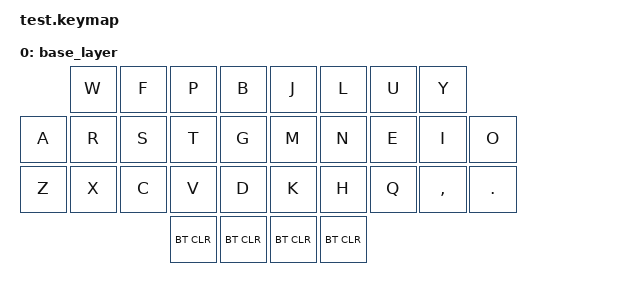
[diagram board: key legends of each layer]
#include <behaviors.dtsi>
#include <dt-bindings/zmk/keys.h>
#include <dt-bindings/zmk/bt.h>

/ {
    keymap {
        compatible = "zmk,keymap";

        base_layer {
          bindings = <
            //               ╭─────────────┬─────────────┬─────────────┬─────────────╮   ╭─────────────┬─────────────┬─────────────┬─────────────╮
                               &kp W         &kp F         &kp P         &kp B             &kp J         &kp L         &kp U         &kp Y
            // ╭─────────────┼─────────────┼─────────────┼─────────────┼─────────────┤   ├─────────────┼─────────────┼─────────────┼─────────────┼─────────────╮
                 &kp A         &kp R         &kp S         &kp T         &kp G             &kp M         &kp N         &kp E         &kp I         &kp O
            // ├─────────────┼─────────────┼─────────────┼─────────────┼─────────────┤   ├─────────────┼─────────────┼─────────────┼─────────────┼─────────────┤
                 &kp Z         &kp X         &kp C         &kp V         &kp D             &kp K         &kp H         &kp Q         &kp COMMA     &kp DOT
            // ╰─────────────┴─────────────┴─────────────┼─────────────┼─────────────┤   ├─────────────┼─────────────┼─────────────┴─────────────┴─────────────╯
                                                           &bt BT_CLR    &bt BT_CLR        &bt BT_CLR    &bt BT_CLR
            //                                           ╰─────────────┴─────────────╯   ╰─────────────┴─────────────╯
          >;
        };
    };
};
